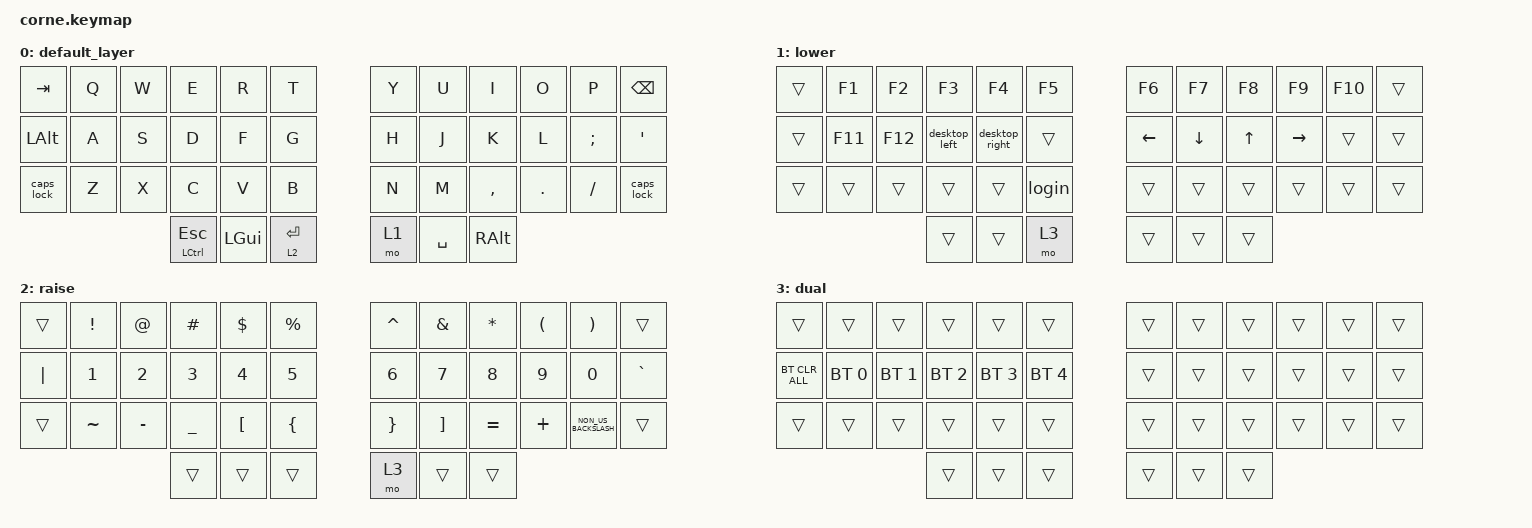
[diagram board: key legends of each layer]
/*
 * Copyright (c) 2020 The ZMK Contributors
 *
 * SPDX-License-Identifier: MIT
 */

#include <behaviors.dtsi>
#include <dt-bindings/zmk/bt.h>
#include <dt-bindings/zmk/keys.h>

/ {
    macros {
        desktop_right: desktop_right {
            compatible = "zmk,behavior-macro";
            #binding-cells = <0>;
            bindings =
                <&macro_press>,
                <&kp LEFT_CONTROL>,
                <&macro_press>,
                <&kp LEFT_GUI>,
                <&macro_tap>,
                <&kp RIGHT>,
                <&macro_release>,
                <&kp LCTRL>,
                <&macro_release>,
                <&kp LEFT_GUI>;

            label = "DESKTOP_RIGHT";
        };

        desktop_left: desktop_left {
            compatible = "zmk,behavior-macro";
            #binding-cells = <0>;
            bindings =
                <&macro_press>,
                <&kp LEFT_CONTROL>,
                <&macro_press>,
                <&kp LEFT_GUI>,
                <&macro_tap>,
                <&kp LEFT>,
                <&macro_release>,
                <&kp LCTRL>,
                <&macro_release>,
                <&kp LEFT_GUI>;

            label = "DESKTOP_LEFT";
        };

        login: login {
            compatible = "zmk,behavior-macro";
            #binding-cells = <0>;
            bindings =
                <&macro_press>,
                <&kp RCTRL>,
                <&macro_press>,
                <&kp RIGHT_ALT>,
                <&macro_press>,
                <&kp DEL>,
                <&macro_release>,
                <&kp RCTRL>,
                <&macro_release>,
                <&kp RIGHT_ALT>,
                <&macro_release>,
                <&kp DEL>;

            label = "LOGIN";
        };
    };

    combos {
        compatible = "zmk,combos";

        esc_combo {
            bindings = <&kp ESCAPE>;
            key-positions = <19 20>;
        };
    };

    behaviors {
        caps_lock: caps_lock {
            compatible = "zmk,behavior-tap-dance";
            label = "CAPS_LOCK";
            #binding-cells = <0>;
            bindings = <&kp LEFT_SHIFT>, <&kp CAPS>;
        };
    };

    keymap {
        compatible = "zmk,keymap";

        default_layer {
            // -----------------------------------------------------------------------------------------
            // |  TAB |  Q  |  W  |  E  |  R  |  T  |   |  Y  |  U   |  I  |  O  |  P  | BKSP |
            // | CTRL |  A  |  S  |  D  |  F  |  G  |   |  H  |  J   |  K  |  L  |  ;  |  '   |
            // | SHFT |  Z  |  X  |  C  |  V  |  B  |   |  N  |  M   |  ,  |  .  |  /  | ESC  |
            //                    | GUI | LWR | SPC |   | ENT | RSE  | ALT |

            bindings = <
&kp TAB       &kp Q  &kp W  &kp E             &kp R         &kp T          &kp Y  &kp U      &kp I      &kp O    &kp P     &kp BSPC
&kp LEFT_ALT  &kp A  &kp S  &kp D             &kp F         &kp G          &kp H  &kp J      &kp K      &kp L    &kp SEMI  &kp SQT
&caps_lock    &kp Z  &kp X  &kp C             &kp V         &kp B          &kp N  &kp M      &kp COMMA  &kp DOT  &kp FSLH  &caps_lock
                            &mt LCTRL ESCAPE  &kp LEFT_GUI  &lt 2 ENTER    &mo 1  &kp SPACE  &kp RALT
            >;
        };

        lower {
            // -----------------------------------------------------------------------------------------
            // |  TAB |  1  |  2  |  3  |  4  |  5  |   |  6  |  7  |  8  |  9  |  0  | BKSP |
            // | BTCLR| BT1 | BT2 | BT3 | BT4 | BT5 |   | LFT | DWN |  UP | RGT |     |      |
            // | SHFT |     |     |     |     |     |   |     |     |     |     |     |      |
            //                    | GUI |     | SPC |   | ENT |     | ALT |

            bindings = <
&trans  &kp F1   &kp F2   &kp F3         &kp F4          &kp F5    &kp F6    &kp F7    &kp F8  &kp F9     &kp F10  &trans
&trans  &kp F11  &kp F12  &desktop_left  &desktop_right  &trans    &kp LEFT  &kp DOWN  &kp UP  &kp RIGHT  &trans   &trans
&trans  &trans   &trans   &trans         &trans          &login    &trans    &trans    &trans  &trans     &trans   &trans
                          &trans         &trans          &mo 3     &trans    &trans    &trans
            >;
        };

        raise {
            // -----------------------------------------------------------------------------------------
            // |  TAB |  !  |  @  |  #  |  $  |  %  |   |  ^  |  &  |  *  |  (  |  )  | BKSP |
            // | CTRL |     |     |     |     |     |   |  -  |  =  |  [  |  ]  |  \  |  `   |
            // | SHFT |     |     |     |     |     |   |  _  |  +  |  {  |  }  | "|" |  ~   |
            //                    | GUI |     | SPC |   | ENT |     | ALT |

            bindings = <
&trans    &kp EXCL      &kp AT        &kp HASH      &kp DLLR          &kp PRCNT         &kp CARET        &kp AMPS           &kp STAR      &kp LPAR      &kp RPAR              &trans
&kp PIPE  &kp NUMBER_1  &kp NUMBER_2  &kp NUMBER_3  &kp NUMBER_4      &kp NUMBER_5      &kp NUMBER_6     &kp NUMBER_7       &kp NUMBER_8  &kp NUMBER_9  &kp NUMBER_0          &kp GRAVE
&trans    &kp TILDE     &kp MINUS     &kp UNDER     &kp LEFT_BRACKET  &kp LEFT_BRACE    &kp RIGHT_BRACE  &kp RIGHT_BRACKET  &kp EQUAL     &kp PLUS      &kp NON_US_BACKSLASH  &trans
                                      &trans        &trans            &trans            &mo 3            &trans             &trans
            >;
        };

        dual {
            bindings = <
&trans          &trans        &trans        &trans        &trans        &trans          &trans  &trans  &trans  &trans  &trans  &trans
&bt BT_CLR_ALL  &bt BT_SEL 0  &bt BT_SEL 1  &bt BT_SEL 2  &bt BT_SEL 3  &bt BT_SEL 4    &trans  &trans  &trans  &trans  &trans  &trans
&trans          &trans        &trans        &trans        &trans        &trans          &trans  &trans  &trans  &trans  &trans  &trans
                                            &trans        &trans        &trans          &trans  &trans  &trans
            >;
        };
    };
};
